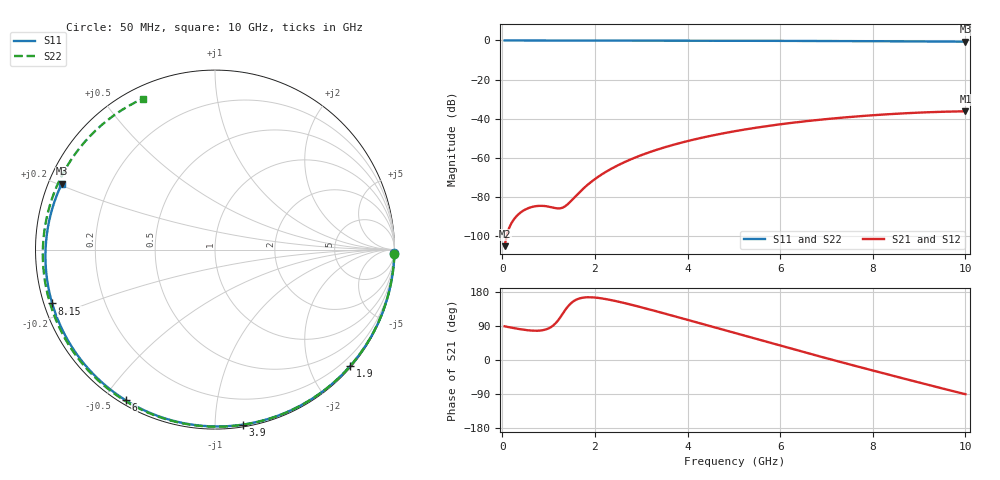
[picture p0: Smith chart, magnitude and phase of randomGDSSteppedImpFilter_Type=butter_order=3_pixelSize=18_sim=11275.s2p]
! freq	dB(S11)	phase(S11)	dB(S12)	phase(S12)
!  dB(S21)	phase(S21)	dB(S22)	phase(S22)
!S-par simulation data
#  GHz  S  DB  R 50
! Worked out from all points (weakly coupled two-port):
!   200 points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, 50 MHz to 10 GHz, reference 50 ohm
!   highest |S21| = -36.18 dB at 10 GHz (marker M1); lowest = -105.0 dB at 50 MHz (marker M2)
!   lowest |S11| = -0.6 dB at 10 GHz (marker M3), VSWR 27.30, Z = 1.91 + j10.3 ohm
!   |S11| at or under -10 dB: nowhere
!   |S22| runs from -0.6 to 0.0 dB; largest |S21 - S12| = 0
!   S11 on the Smith chart (normalised r, x): 50 MHz: open; 1.9 GHz: 0.02, -2.69; 3.9 GHz: 0.02, -1.17; 6 GHz: 0.02, -0.57; 8.15 GHz: 0.02, -0.16; 10 GHz: 0.04, +0.21
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0.05  -0.00 -1.1  -105.05 88.9  -105.05 88.9  -0.00 -1.4
0.75  -0.02 -16.3  -84.54 77.2  -84.54 77.2  -0.03 -20.7
1.15  -0.03 -24.9  -85.63 96.8  -85.63 96.8  -0.04 -31.6
1.55  -0.04 -33.4  -80.34 156.0  -80.34 156.0  -0.05 -42.3
1.75  -0.05 -37.6  -75.62 164.6  -75.62 164.6  -0.06 -47.6
1.9  -0.05 -40.7  -72.59 165.6  -72.59 165.6  -0.06 -51.5
2.2  -0.06 -47.0  -67.64 161.5  -67.64 161.5  -0.07 -59.2
2.55  -0.07 -54.1  -63.13 152.8  -63.13 152.8  -0.09 -68.1
2.95  -0.08 -62.3  -59.04 140.7  -59.04 140.7  -0.10 -78.0
3.4  -0.09 -71.2  -55.34 126.1  -55.34 126.1  -0.11 -88.8
3.9  -0.11 -81.0  -51.98 109.4  -51.98 109.4  -0.13 -100.6
4.45  -0.13 -91.6  -48.95 90.7  -48.95 90.7  -0.16 -113.1
5.05  -0.16 -102.9  -46.22 70.2  -46.22 70.2  -0.19 -126.5
6  -0.21 -120.6  -42.82 38.0  -42.82 38.0  -0.25 -147.3
6.7  -0.26 -133.7  -40.87 14.6  -40.87 14.6  -0.30 -162.7
7.45  -0.33 -147.9  -39.19 -10.0  -39.19 -10.0  -0.36 -179.5
8.15  -0.40 -161.7  -37.95 -32.5  -37.95 -32.5  -0.43 164.1
8.35  -0.42 -165.8  -37.65 -38.9  -37.65 -38.9  -0.45 159.3
8.75  -0.47 -174.2  -37.12 -51.5  -37.12 -51.5  -0.49 149.4
9.15  -0.52 177.0  -36.70 -64.1  -36.70 -64.1  -0.53 139.0
9.6  -0.58 166.6  -36.36 -78.1  -36.36 -78.1  -0.57 126.9
10  -0.64 156.8  -36.18 -90.3  -36.18 -90.3  -0.61 115.5
